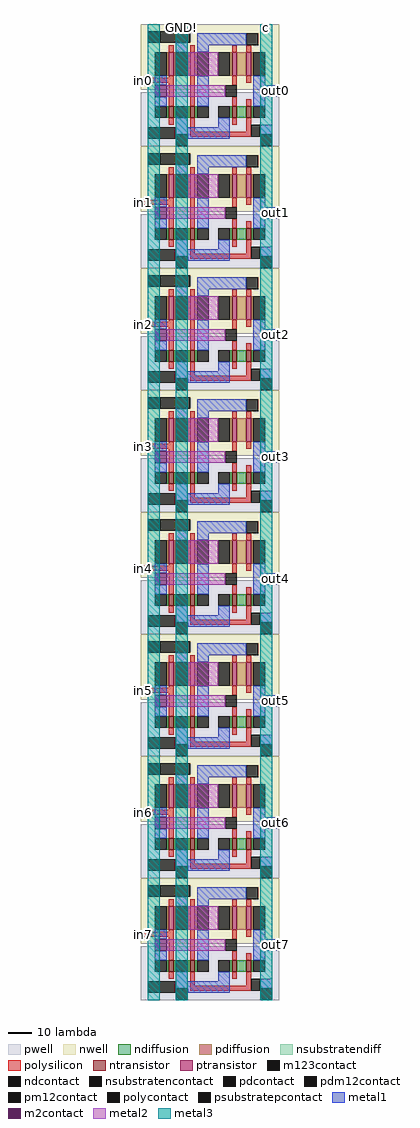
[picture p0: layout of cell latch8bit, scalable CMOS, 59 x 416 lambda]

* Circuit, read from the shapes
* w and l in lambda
.subckt latch8bit GND! Vdd! c in0 in1 in2 in3 in4 in5 in6 in7 out0 out1 out2 out3 out4 out5 out6 out7
M1 GND! in7 n1 GND! nfet w=5 l=2
M2 GND! in6 n2 GND! nfet w=5 l=2
M3 GND! in5 n3 GND! nfet w=5 l=2
M4 GND! in4 n4 GND! nfet w=5 l=2
M5 GND! in3 n5 GND! nfet w=5 l=2
M6 GND! in2 n6 GND! nfet w=5 l=2
M7 GND! in1 n7 GND! nfet w=5 l=2
M8 GND! in0 n8 GND! nfet w=5 l=2
M9 n9 c GND! GND! nfet w=5 l=2
M10 n10 c GND! GND! nfet w=5 l=2
M11 n11 c GND! GND! nfet w=5 l=2
M12 n12 c GND! GND! nfet w=5 l=2
M13 n13 c GND! GND! nfet w=5 l=2
M14 n14 c GND! GND! nfet w=5 l=2
M15 n15 c GND! GND! nfet w=5 l=2
M16 n16 c GND! GND! nfet w=5 l=2
M17 n17 n1 GND! GND! nfet w=5 l=2
M18 n18 n2 GND! GND! nfet w=5 l=2
M19 n19 n3 GND! GND! nfet w=5 l=2
M20 n20 n4 GND! GND! nfet w=5 l=2
M21 n21 n5 GND! GND! nfet w=5 l=2
M22 n22 n6 GND! GND! nfet w=5 l=2
M23 n23 n7 GND! GND! nfet w=5 l=2
M24 n24 n8 GND! GND! nfet w=5 l=2
M25 out7 c n17 GND! nfet w=5 l=2
M26 out6 c n18 GND! nfet w=5 l=2
M27 out5 c n19 GND! nfet w=5 l=2
M28 out4 c n20 GND! nfet w=5 l=2
M29 out3 c n21 GND! nfet w=5 l=2
M30 out2 c n22 GND! nfet w=5 l=2
M31 out1 c n23 GND! nfet w=5 l=2
M32 out0 c n24 GND! nfet w=5 l=2
M33 Vdd! in7 n1 Vdd! pfet w=10 l=2
M34 Vdd! in6 n2 Vdd! pfet w=10 l=2
M35 Vdd! in5 n3 Vdd! pfet w=10 l=2
M36 Vdd! in4 n4 Vdd! pfet w=10 l=2
M37 Vdd! in3 n5 Vdd! pfet w=10 l=2
M38 Vdd! in2 n6 Vdd! pfet w=10 l=2
M39 Vdd! in1 n7 Vdd! pfet w=10 l=2
M40 Vdd! in0 n8 Vdd! pfet w=10 l=2
M41 n9 c Vdd! Vdd! pfet w=10 l=2
M42 n10 c Vdd! Vdd! pfet w=10 l=2
M43 n11 c Vdd! Vdd! pfet w=10 l=2
M44 n12 c Vdd! Vdd! pfet w=10 l=2
M45 n13 c Vdd! Vdd! pfet w=10 l=2
M46 n14 c Vdd! Vdd! pfet w=10 l=2
M47 n15 c Vdd! Vdd! pfet w=10 l=2
M48 n16 c Vdd! Vdd! pfet w=10 l=2
M49 n25 n1 Vdd! Vdd! pfet w=10 l=2
M50 n26 n2 Vdd! Vdd! pfet w=10 l=2
M51 n27 n3 Vdd! Vdd! pfet w=10 l=2
M52 n28 n4 Vdd! Vdd! pfet w=10 l=2
M53 n29 n5 Vdd! Vdd! pfet w=10 l=2
M54 n30 n6 Vdd! Vdd! pfet w=10 l=2
M55 n31 n7 Vdd! Vdd! pfet w=10 l=2
M56 n32 n8 Vdd! Vdd! pfet w=10 l=2
M57 out7 n9 n25 Vdd! pfet w=10 l=2
M58 out6 n10 n26 Vdd! pfet w=10 l=2
M59 out5 n11 n27 Vdd! pfet w=10 l=2
M60 out4 n12 n28 Vdd! pfet w=10 l=2
M61 out3 n13 n29 Vdd! pfet w=10 l=2
M62 out2 n14 n30 Vdd! pfet w=10 l=2
M63 out1 n15 n31 Vdd! pfet w=10 l=2
M64 out0 n16 n32 Vdd! pfet w=10 l=2
.ends

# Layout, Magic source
magic
tech scmos
<< polysilicon >>
rect 0 391 2 393
rect 0 339 2 341
rect 0 287 2 289
rect 0 235 2 237
rect 0 183 2 185
rect 0 131 2 133
rect 0 79 2 81
rect 0 27 2 29
<< metal1 >>
rect 56 385 59 390
rect 56 333 59 338
rect 56 281 59 286
rect 56 229 59 234
rect 56 177 59 182
rect 56 125 59 130
rect 56 73 59 78
rect 56 21 59 26
<< metal3 >>
rect 3 0 8 416
rect 15 0 20 416
rect 51 0 56 416
use latch_one  latch_one_0
array 0 0 59 0 7 52
transform 1 0 -16 0 1 58
box 16 -58 75 -6
<< labels >>
rlabel polysilicon 0 339 2 341 3 in1
rlabel polysilicon 0 287 2 289 3 in2
rlabel polysilicon 0 235 2 237 3 in3
rlabel polysilicon 0 183 2 185 3 in4
rlabel polysilicon 0 79 2 81 3 in6
rlabel polysilicon 0 27 2 29 3 in7
rlabel polysilicon 0 131 2 133 3 in5
rlabel metal1 56 333 59 338 7 out1
rlabel metal1 56 281 59 286 7 out2
rlabel metal1 56 229 59 234 7 out3
rlabel metal1 56 177 59 182 7 out4
rlabel metal1 56 125 59 130 7 out5
rlabel metal1 56 73 59 78 7 out6
rlabel metal1 56 21 59 26 7 out7
rlabel metal3 15 413 20 416 5 GND!
rlabel metal3 3 413 8 416 5 Vdd!
rlabel metal3 51 413 56 416 5 c
rlabel polysilicon 0 391 2 393 3 in0
rlabel metal1 56 385 59 390 7 out0
<< end >>

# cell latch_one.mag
magic
tech scmos
<< nwell >>
rect 16 -34 75 -6
<< pwell >>
rect 16 -58 75 -35
<< ntransistor >>
rect 28 -46 30 -41
rect 37 -46 39 -41
rect 55 -46 57 -41
rect 61 -46 63 -41
<< ptransistor >>
rect 28 -28 30 -18
rect 37 -28 39 -18
rect 55 -28 57 -18
rect 61 -28 63 -18
<< ndiffusion >>
rect 27 -46 28 -41
rect 30 -46 31 -41
rect 36 -46 37 -41
rect 39 -46 40 -41
rect 54 -46 55 -41
rect 57 -46 61 -41
rect 63 -46 64 -41
<< pdiffusion >>
rect 27 -28 28 -18
rect 30 -28 31 -18
rect 36 -28 37 -18
rect 39 -28 40 -18
rect 54 -28 55 -18
rect 57 -28 61 -18
rect 63 -28 64 -18
<< ndcontact >>
rect 22 -46 27 -41
rect 31 -46 36 -41
rect 40 -46 45 -41
rect 49 -46 54 -41
rect 64 -46 69 -41
<< pdcontact >>
rect 22 -28 27 -18
rect 40 -28 45 -18
rect 64 -28 69 -18
<< nsubstratendiff >>
rect 19 -14 24 -9
<< psubstratepcontact >>
rect 19 -55 31 -50
<< nsubstratencontact >>
rect 24 -14 37 -9
<< polysilicon >>
rect 28 -18 30 -15
rect 37 -18 39 -15
rect 55 -18 57 -15
rect 61 -18 63 -15
rect 28 -29 30 -28
rect 16 -31 30 -29
rect 28 -41 30 -31
rect 37 -41 39 -28
rect 55 -32 57 -28
rect 61 -31 63 -28
rect 55 -41 57 -37
rect 61 -41 63 -38
rect 28 -49 30 -46
rect 37 -52 39 -46
rect 55 -49 57 -46
rect 61 -52 63 -46
rect 37 -54 63 -52
<< polycontact >>
rect 61 -15 66 -10
rect 63 -54 67 -49
<< metal1 >>
rect 31 -18 36 -14
rect 40 -15 61 -10
rect 40 -18 45 -15
rect 22 -32 27 -28
rect 22 -41 27 -37
rect 40 -41 45 -28
rect 64 -32 69 -28
rect 64 -37 75 -32
rect 64 -41 69 -37
rect 31 -50 36 -46
rect 49 -50 54 -46
rect 31 -53 54 -50
rect 36 -55 54 -53
rect 67 -53 72 -49
<< m2contact >>
rect 22 -37 27 -32
<< pm12contact >>
rect 52 -37 57 -32
<< pdm12contact >>
rect 31 -28 36 -18
rect 49 -28 54 -18
<< metal2 >>
rect 36 -28 49 -18
rect 27 -37 52 -32
<< m123contact >>
rect 19 -14 24 -9
rect 31 -58 36 -53
rect 67 -58 72 -53
<< labels >>
rlabel polysilicon 29 -30 29 -30 1 in
rlabel metal1 67 -35 67 -35 1 out
rlabel polysilicon 38 -17 38 -17 1 c
rlabel nsubstratencontact 29 -12 29 -12 1 Vdd!
rlabel psubstratepcontact 29 -54 29 -54 1 GND!
<< end >>
